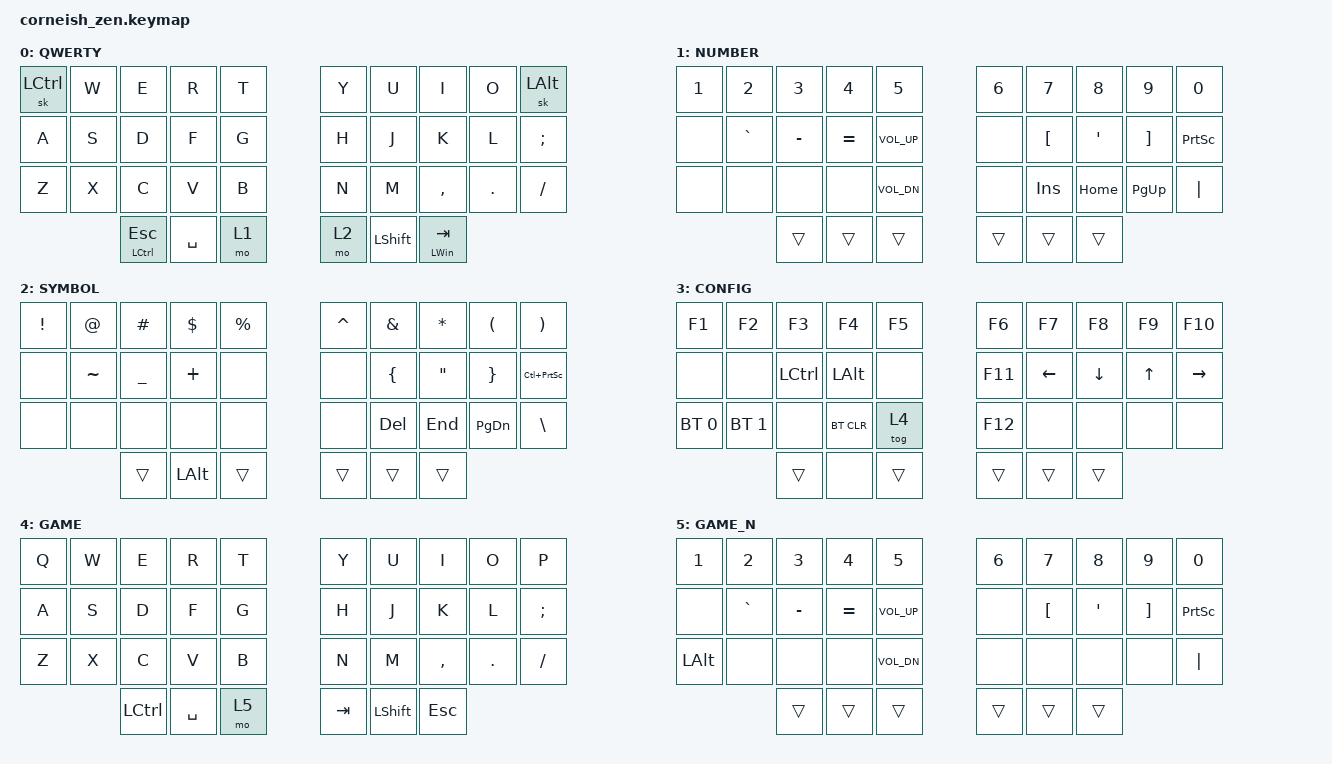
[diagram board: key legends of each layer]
/*
*
* Copyright (c) 2021 Darryl deHaan
* SPDX-License-Identifier: MIT
*
*/

#include <behaviors.dtsi>
#include <dt-bindings/zmk/keys.h>
#include <dt-bindings/zmk/bt.h>

/ {
    chosen {
        zmk,matrix-transform = &five_column_transform;
    };
};

/ {
        combos {
                compatible = "zmk,combos";
                combo_bspc {
                        timeout-ms = <50>;
                        key-positions = <12 17>;
                        layers = <0 4>;
                        bindings = <&kp BSPC>;
                };
                combo_ret {
                        timeout-ms = <50>;
                        key-positions = <13 16>;
                        layers = <0 4>;
                        bindings = <&kp RET>;
                };
                combo_return_to_default_layer {
                        timeout-ms = <50>;
                        key-positions = <4 5>;
                        layers = <4>;
                        bindings = <&tog 4>;
                };
                combo_q {
                        timeout-ms = <50>;
                        key-positions = <10 19>;
                        layers = <0>;
                        bindings = <&kp Q>;
                };
                combo_p {
                        timeout-ms = <50>;
                        key-positions = <11 18>;
                        layers = <0>;
                        bindings = <&kp P>;
                }; 
        };
};

/ {
        conditional_layers {
                compatible = "zmk,conditional-layers";

                tri_layer {
                        if-layers = <1 2>;
                        then-layer = <3>;
                };
        };
};

/ {
    keymap {
        compatible = "zmk,keymap";

        default_layer {
            display-name = "QWERTY";
//╭─────────────┬─────────────┬─────────────┬─────────────┬─────────────╮          ╭─────────────┬─────────────┬─────────────┬─────────────┬─────────────╮ 
//     LCtrl           W             E             R             T                        Y             U             I             O           LAlt      
//├─────────────┼─────────────┼─────────────┼─────────────┼─────────────┤          ├─────────────┼─────────────┼─────────────┼─────────────┼─────────────┤ 
//       A             S             D             F             G                        H             J             K             L           ;   Ж  
//├─────────────┼─────────────┼─────────────┼─────────────┼─────────────┤          ├─────────────┼─────────────┼─────────────┼─────────────┼─────────────┤ 
//       Z             X             C             V             B                        N             M             <             >            ?   ,
//                                                                                                                    ,             .            /   .
//╰─────────────┴─────────────┼─────────────┼─────────────┼─────────────┤          ├─────────────┼─────────────┼─────────────┼─────────────┴─────────────╯ 
//                               LCtrl/ESC       SPACE        LAYER_1                  LAYER_2        LSHFT        LWIN/TAB                                          
//                            ╰─────────────┴─────────────┴─────────────╯          ╰─────────────┴─────────────┴─────────────╯ 

            bindings = <
       &sk LCTRL &kp W &kp E &kp R &kp T   &kp Y &kp U  &kp I     &kp O   &sk LALT          
       &kp A     &kp S &kp D &kp F &kp G   &kp H &kp J  &kp K     &kp L   &kp SEMI       
       &kp Z     &kp X &kp C &kp V &kp B   &kp N &kp M  &kp COMMA &kp DOT &kp FSLH       
                 &mt LCTRL ESC &kp SPACE &mo 1   &mo 2 &kp LSHFT &mt LWIN TAB
            >;
        };


        lower_layer {
            display-name = "NUMBER";
//╭─────────────┬─────────────┬─────────────┬─────────────┬─────────────╮          ╭─────────────┬─────────────┬─────────────┬─────────────┬─────────────╮ 
//       1             2             3             4             5                        6             7             8             9             0      
//├─────────────┼─────────────┼─────────────┼─────────────┼─────────────┤          ├─────────────┼─────────────┼─────────────┼─────────────┼─────────────┤ 
//                   `   Ё           -             =            🔊                                   [   Х          '   Э         ]   Ъ     Print Screen 
//├─────────────┼─────────────┼─────────────┼─────────────┼─────────────┤          ├─────────────┼─────────────┼─────────────┼─────────────┼─────────────┤ 
//                                                              🔉                                   Insert         Home         Page Up        |   /
//╰─────────────┴─────────────┼─────────────┼─────────────┼─────────────┤          ├─────────────┼─────────────┼─────────────┼─────────────┴─────────────╯ 
//                                  ESC          SPACE        LAYER_1                  LAYER_2        LSHFT        LWIN/TAB                                          
//                            ╰─────────────┴─────────────┴─────────────╯          ╰─────────────┴─────────────┴─────────────╯ 
            bindings = <
        &kp N1 &kp N2    &kp N3    &kp N4    &kp N5           &kp N6  &kp N7   &kp N8   &kp N9    &kp N0
        &none  &kp GRAVE &kp MINUS &kp EQUAL &kp C_VOL_UP     &none   &kp LBKT &kp SQT  &kp RBKT  &kp PSCRN
        &none  &none     &none     &none     &kp C_VOL_DN     &none   &kp INS  &kp HOME &kp PG_UP &kp PIPE 
                         &trans    &trans    &trans           &trans  &trans   &trans
            >;
        };

        raise_layer {
            display-name = "SYMBOL";
//╭─────────────┬─────────────┬─────────────┬─────────────┬─────────────╮          ╭─────────────┬─────────────┬─────────────┬─────────────┬─────────────╮ 
//       !           @  "           #  №          $  ;           %                      ^  :           &  ?           *             (             )      
//├─────────────┼─────────────┼─────────────┼─────────────┼─────────────┤          ├─────────────┼─────────────┼─────────────┼─────────────┼─────────────┤ 
//                     ~             _             +                                                    {             "             }        LCtrl + PS 
//├─────────────┼─────────────┼─────────────┼─────────────┼─────────────┤          ├─────────────┼─────────────┼─────────────┼─────────────┼─────────────┤ 
//                                                                                                    Delete         End         Page Down        \
//╰─────────────┴─────────────┼─────────────┼─────────────┼─────────────┤          ├─────────────┼─────────────┼─────────────┼─────────────┴─────────────╯ 
//                                  ESC         Left Alt      LAYER_1                  LAYER_2        LSHFT        LWIN/TAB                                          
//                            ╰─────────────┴─────────────┴─────────────╯          ╰─────────────┴─────────────┴─────────────╯ 
            bindings = <
        &kp EXCL &kp AT      &kp HASH  &kp DLLR &kp PRCNT    &kp CARET &kp AMPS &kp ASTRK &kp LPAR  &kp RPAR      
        &none    &kp TILDE   &kp UNDER &kp PLUS &none        &none     &kp LBRC &kp DQT   &kp RBRC  &kp LC(PSCRN)
        &none    &none       &none     &none    &none        &none     &kp DEL  &kp END   &kp PG_DN &kp BSLH     
                    	     &trans     &kp LALT &trans       &trans    &trans   &trans
            >;
        };

        config_layer {
                        label = "CONFIG";
//╭─────────────┬─────────────┬─────────────┬─────────────┬─────────────╮          ╭─────────────┬─────────────┬─────────────┬─────────────┬─────────────╮ 
//       F1            F2            F3           F4            F5                       F6             F7            F8            F9           F10      
//├─────────────┼─────────────┼─────────────┼─────────────┼─────────────┤          ├─────────────┼─────────────┼─────────────┼─────────────┼─────────────┤ 
//                                 LCtrl          LAlt                                   F11            ⬅️            ⬇️           ⬆️           ➡️
//├─────────────┼─────────────┼─────────────┼─────────────┼─────────────┤          ├─────────────┼─────────────┼─────────────┼─────────────┼─────────────┤ 
//      ᛒ 0           ᛒ 1                       ᛒ Clear        GAME_L                    F12             
//╰─────────────┴─────────────┼─────────────┼─────────────┼─────────────┤          ├─────────────┼─────────────┼─────────────┼─────────────┴─────────────╯ 
//                                  ESC                       LAYER_1                  LAYER_2        LSHFT        LWIN/TAB                                          
//                            ╰─────────────┴─────────────┴─────────────╯          ╰─────────────┴─────────────┴─────────────╯ 
                        bindings = <
       &kp F1         &kp F2       &kp F3       &kp F4      &kp F5    &kp F6  &kp F7   &kp F8   &kp F9 &kp F10   
       &none          &none        &kp LCTRL    &kp LALT    &none     &kp F11 &kp LEFT &kp DOWN &kp UP &kp RIGHT 
       &bt BT_SEL 0   &bt BT_SEL 1 &none        &bt BT_CLR  &tog 4    &kp F12 &none    &none    &none  &none     
                          	       &trans       &none       &trans    &trans  &trans   &trans
                        >;
                };

        game_layer {
                        label = "GAME";
//╭─────────────┬─────────────┬─────────────┬─────────────┬─────────────╮          ╭─────────────┬─────────────┬─────────────┬─────────────┬─────────────╮ 
//       Q             W             E             R             T                        Y             U             I             O             P      
//├─────────────┼─────────────┼─────────────┼─────────────┼─────────────┤          ├─────────────┼─────────────┼─────────────┼─────────────┼─────────────┤ 
//       A             S             D             F             G                        H             J             K             L             ;  
//├─────────────┼─────────────┼─────────────┼─────────────┼─────────────┤          ├─────────────┼─────────────┼─────────────┼─────────────┼─────────────┤ 
//       Z             X             C             V             B                        N             M             ,             .             /   
//╰─────────────┴─────────────┼─────────────┼─────────────┼─────────────┤          ├─────────────┼─────────────┼─────────────┼─────────────┴─────────────╯ 
//                                 LCTRL         SPACE        LAYER_5                   TAB           LSHFT          ESC                                          
//                            ╰─────────────┴─────────────┴─────────────╯          ╰─────────────┴─────────────┴─────────────╯ 
                        bindings = <
       &kp Q &kp W &kp E &kp R &kp T   &kp Y  &kp U  &kp I     &kp O   &kp P          
       &kp A &kp S &kp D &kp F &kp G   &kp H  &kp J  &kp K     &kp L   &kp SEMI       
       &kp Z &kp X &kp C &kp V &kp B   &kp N  &kp M  &kp COMMA &kp DOT &kp FSLH       
           &kp LCTRL &kp SPACE &mo 5   &kp TAB  &kp LSHFT &kp ESC
            >;
        };

        game_lower_layer {
            display-name = "GAME_N";
//╭─────────────┬─────────────┬─────────────┬─────────────┬─────────────╮          ╭─────────────┬─────────────┬─────────────┬─────────────┬─────────────╮ 
//       1             2             3             4             5                        6             7             8             9             0      
//├─────────────┼─────────────┼─────────────┼─────────────┼─────────────┤          ├─────────────┼─────────────┼─────────────┼─────────────┼─────────────┤ 
//                   `   Ё           -             =            🔊                                   [   Х          '   Э         ]   Ъ     Print Screen 
//├─────────────┼─────────────┼─────────────┼─────────────┼─────────────┤          ├─────────────┼─────────────┼─────────────┼─────────────┼─────────────┤ 
//     LAlt                                                     🔉                                                                             |   /
//╰─────────────┴─────────────┼─────────────┼─────────────┼─────────────┤          ├─────────────┼─────────────┼─────────────┼─────────────┴─────────────╯ 
//                                 LCTRL         SPACE        LAYER_5                    TAB          LSHFT          ESC                                          
//                            ╰─────────────┴─────────────┴─────────────╯          ╰─────────────┴─────────────┴─────────────╯ 
            bindings = <
        &kp N1   &kp N2    &kp N3    &kp N4    &kp N5           &kp N6  &kp N7   &kp N8   &kp N9    &kp N0
        &none    &kp GRAVE &kp MINUS &kp EQUAL &kp C_VOL_UP     &none   &kp LBKT &kp SQT  &kp RBKT  &kp PSCRN
        &kp LALT &none     &none     &none     &kp C_VOL_DN     &none   &none    &none    &none     &kp PIPE 
                           &trans    &trans    &trans           &trans  &trans   &trans
            >;
        };
    };
};
